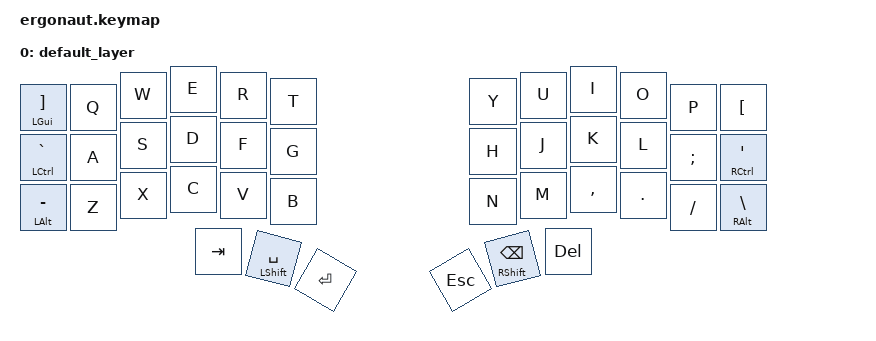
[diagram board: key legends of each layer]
// This file was generated from a template. Edit it to match your keyboard.
// See https://zmk.dev/docs/development/hardware-integration/new-shield for more instructions.

#include <behaviors.dtsi>
#include <dt-bindings/zmk/keys.h>
#include <dt-bindings/zmk/bt.h>


&mt {
    quick-tap-ms = <200>;
};

/ {
    // Define a default keymap here.
    // See https://zmk.dev/docs/development/hardware-integration/new-shield#default-keymap.
    keymap {
        compatible = "zmk,keymap";

        default_layer {
            bindings = <
                &mt LGUI RBKT     &kp Q   &kp W   &kp E         &kp R             &kp T         &kp Y         &kp U            &kp I         &kp O     &kp P      &kp LBKT       
                &mt LCTRL GRAVE   &kp A   &kp S   &kp D         &kp F             &kp G         &kp H         &kp J            &kp K         &kp L     &kp SEMI   &mt RCTRL SQT
                &mt LALT MINUS    &kp Z   &kp X   &kp C         &kp V             &kp B         &kp N         &kp M            &kp COMMA     &kp DOT   &kp FSLH   &mt RALT BSLH
                                                  &kp TAB       &mt LSHFT SPACE   &kp RET       &kp ESC       &mt RSHFT BSPC   &kp DEL
            >;
        };
    };
};
